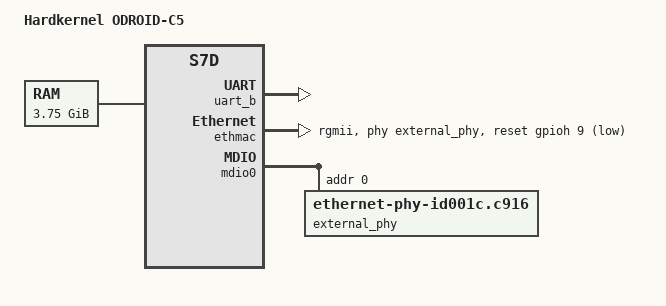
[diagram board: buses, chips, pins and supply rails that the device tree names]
// SPDX-License-Identifier: (GPL-2.0+ OR MIT)
/*
 * Device tree for Hardkernel ODROID-C5
 *
 * Based on Amlogic S905X5M (S7D) SoC.
 * UART/memory bring-up only; MMC/Ethernet/USB/HDMI require follow-up
 * S7D mainline driver work (clock controller, pinctrl driver-match, etc.).
 *
 * Copyright (C) 2025 Megasware128
 */

/dts-v1/;
#include "amlogic-s7d.dtsi"

/ {
	model = "Hardkernel ODROID-C5";
	compatible = "hardkernel,odroid-c5", "amlogic,s905x5m", "amlogic,s7d";

	aliases {
		serial0 = &uart_b;
	};

	chosen {
		stdout-path = "serial0:115200n8";
	};

	memory@0 {
		device_type = "memory";
		reg = <0x0 0x0 0x0 0xf0000000>;
	};
};

&uart_b {
	status = "okay";
};

&ethmac {
status = "okay";
pinctrl-0 = <&eth_rgmii_pins>, <&eth_pins>;
pinctrl-names = "default";
phy-mode = "rgmii";
phy-handle = <&external_phy>;
snps,reset-gpio = <&gpioh 9 GPIO_ACTIVE_LOW>;
snps,reset-delays-us = <0 10000 30000>;
};

&mdio0 {
external_phy: ethernet-phy@0 {
compatible = "ethernet-phy-id001c.c916";
reg = <0>;
max-speed = <1000>;
};
};
